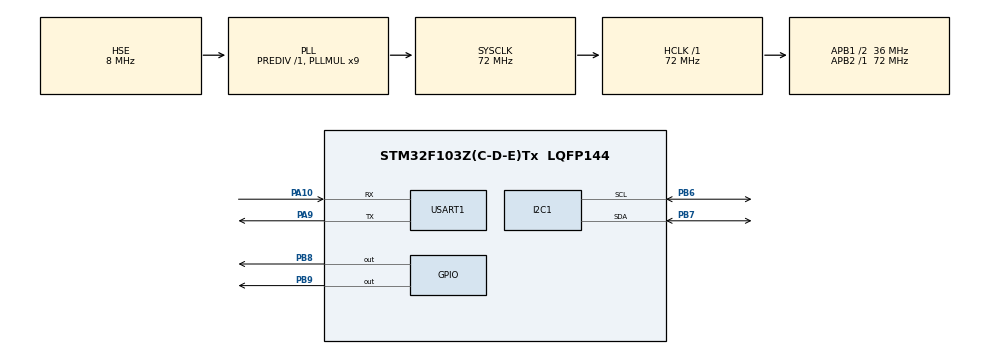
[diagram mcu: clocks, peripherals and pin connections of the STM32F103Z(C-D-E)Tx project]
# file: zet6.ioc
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I2C1.I2C_Mode=I2C_Fast
Mcu.Family=STM32F1
Mcu.Name=STM32F103Z(C-D-E)Tx
Mcu.Package=LQFP144
NVIC.PriorityGroup=NVIC_PRIORITYGROUP_4
NVIC.TIM8_UP_IRQn=true\:0\:0\:false\:false\:true\:true\:true\:true
OSC_IN.Mode=HSE-External-Oscillator
OSC_IN.Signal=RCC_OSC_IN
OSC_OUT.Mode=HSE-External-Oscillator
OSC_OUT.Signal=RCC_OSC_OUT
PA10.Mode=Asynchronous
PA10.Signal=USART1_RX
PA13.Mode=Serial_Wire
PA13.Signal=SYS_JTMS-SWDIO
PA14.Mode=Serial_Wire
PA14.Signal=SYS_JTCK-SWCLK
PA9.Mode=Asynchronous
PA9.Signal=USART1_TX
PB6.Mode=I2C
PB6.Signal=I2C1_SCL
PB7.Mode=I2C
PB7.Signal=I2C1_SDA
PB8.Signal=GPIO_Output
PB9.Signal=GPIO_Output
ProjectManager.HeapSize=0x200
ProjectManager.StackSize=0x400
ProjectManager.TargetToolchain=MDK-ARM V5
RCC.AHBFreq_Value=72000000
RCC.APB1CLKDivider=RCC_HCLK_DIV2
RCC.APB1Freq_Value=36000000
RCC.APB1TimFreq_Value=72000000
RCC.APB2Freq_Value=72000000
RCC.APB2TimFreq_Value=72000000
RCC.HCLKFreq_Value=72000000
RCC.PLLMUL=RCC_PLL_MUL9
RCC.PLLSourceVirtual=RCC_PLLSOURCE_HSE
RCC.SYSCLKFreq_VALUE=72000000
RCC.SYSCLKSource=RCC_SYSCLKSOURCE_PLLCLK
RCC.USBFreq_Value=72000000
TIM8.Channel-Output\ Compare1\ No\ Output=TIM_CHANNEL_1
TIM8.Period=7199
TIM8.Prescaler=9
USART1.VirtualMode=VM_ASYNC
VP_TIM8_VS_no_output1.Mode=Output Compare1 No Output
board=custom

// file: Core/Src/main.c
/* USER CODE BEGIN Header */
/**
  ******************************************************************************
  * @file           : main.c
  * @brief          : Main program body
  ******************************************************************************
  * @attention
  *
  * Copyright (c) 2023 STMicroelectronics.
  * All rights reserved.
  *
  * This software is licensed under terms that can be found in the LICENSE file
  * in the root directory of this software component.
  * If no LICENSE file comes with this software, it is provided AS-IS.
  *
  ******************************************************************************
  */
/* USER CODE END Header */
#include "main.h"
#include "i2c.h"
#include "tim.h"
#include "usart.h"
#include "gpio.h"

/* USER CODE BEGIN Includes */
#include "mpu9250.h"
#include "inv_mpu.h"
/* USER CODE END Includes */

/* USER CODE BEGIN PTD */
uint8_t init_flag=0,rec_count=0;
/* USER CODE END PTD */

void SystemClock_Config(void);
/* USER CODE BEGIN PFP */
void mpu9250_Start(void);
/* USER CODE END PFP */

int main(void)
{

  /* MCU Configuration--------------------------------------------------------*/

  /* Reset of all peripherals, Initializes the Flash interface and the Systick. */
  HAL_Init();

  /* Configure the system clock */
  SystemClock_Config();

  /* Initialize all configured peripherals */
  MX_GPIO_Init();
  MX_I2C1_Init();
  MX_USART1_UART_Init();
  MX_TIM8_Init();
  /* USER CODE BEGIN 2 */
		mpu9250_Start();
		HAL_TIM_Base_Start_IT(&htim8);
//	  printf("-- Mpu9250 Project Start -- \r\n");
//      uint8_t recv = 0x00;
//      uint8_t i2c_err;
//      i2c_err = HAL_I2C_Mem_Read(&hi2c1, (0x68<<1), 0x75, I2C_MEMADD_SIZE_8BIT, &recv, 1, 0xfff);
//      if(recv == 0x71)
//      {
//          printf("mpu9250 ID Read: OK（0x71 at 0x75)\r\n");
//      }
//      else
//      {
//          printf("Err:%d\r\n",i2c_err);
//      }
  /* USER CODE END 2 */

  /* Infinite loop */
  /* USER CODE BEGIN WHILE */
  while (1)
  {
//		printf("-- Mpu9250 Project Start -- \r\n");
//		HAL_UART_Transmit(&huart1,(uint8_t *)"hello",5,100);
//		HAL_Delay(500);
    /* USER CODE END WHILE */

  }
}

void SystemClock_Config(void)
{
  RCC_OscInitTypeDef RCC_OscInitStruct = {0};
  RCC_ClkInitTypeDef RCC_ClkInitStruct = {0};

  /** Initializes the RCC Oscillators according to the specified parameters
  * in the RCC_OscInitTypeDef structure.
  */
  RCC_OscInitStruct.OscillatorType = RCC_OSCILLATORTYPE_HSE;
  RCC_OscInitStruct.HSEState = RCC_HSE_ON;
  RCC_OscInitStruct.HSEPredivValue = RCC_HSE_PREDIV_DIV1;
  RCC_OscInitStruct.HSIState = RCC_HSI_ON;
  RCC_OscInitStruct.PLL.PLLState = RCC_PLL_ON;
  RCC_OscInitStruct.PLL.PLLSource = RCC_PLLSOURCE_HSE;
  RCC_OscInitStruct.PLL.PLLMUL = RCC_PLL_MUL9;
  if (HAL_RCC_OscConfig(&RCC_OscInitStruct) != HAL_OK)
  {
    Error_Handler();
  }

  /** Initializes the CPU, AHB and APB buses clocks
  */
  RCC_ClkInitStruct.ClockType = RCC_CLOCKTYPE_HCLK|RCC_CLOCKTYPE_SYSCLK
                              |RCC_CLOCKTYPE_PCLK1|RCC_CLOCKTYPE_PCLK2;
  RCC_ClkInitStruct.SYSCLKSource = RCC_SYSCLKSOURCE_PLLCLK;
  RCC_ClkInitStruct.AHBCLKDivider = RCC_SYSCLK_DIV1;
  RCC_ClkInitStruct.APB1CLKDivider = RCC_HCLK_DIV2;
  RCC_ClkInitStruct.APB2CLKDivider = RCC_HCLK_DIV1;

  if (HAL_RCC_ClockConfig(&RCC_ClkInitStruct, FLASH_LATENCY_2) != HAL_OK)
  {
    Error_Handler();
  }
}

/* USER CODE BEGIN 4 */
void HAL_TIM_PeriodElapsedCallback(TIM_HandleTypeDef *htim)
{

	float pitch,roll,yaw; 	        //欧拉角
	short aacx,aacy,aacz;	        //加速度传感器原始数据
	short gyrox,gyroy,gyroz;        //陀螺仪原始数据
    short temp;                     //温度
				 uint8_t err=0;
	if(init_flag){
		err = mpu_mpl_get_data(&pitch,&roll,&yaw);
        if(err == 0)
        {
                temp = MPU_Get_Temperature();	                                     //得到温度值（扩大了100倍）
                MPU_Get_Accelerometer(&aacx,&aacy,&aacz);	                         //得到加速度传感器数据
                MPU_Get_Gyroscope(&gyrox,&gyroy,&gyroz);	                         //得到陀螺仪数据
                //mpu6050_send_data(aacx,aacy,aacz,gyrox,gyroy,gyroz);               //发送加速度+陀螺仪原始数据
                printf(/*"roll = %f   pitch = %f */  "yaw = %f (T = %d)\r\n",/*roll,pitch,*/yaw,temp);

        }
			}
}

void mpu9250_Start(void)
{

	float pitch,roll,yaw; 	        //欧拉角
	short aacx,aacy,aacz;	        //加速度传感器原始数据
	short gyrox,gyroy,gyroz;        //陀螺仪原始数据
    short temp;                     //温度

    uint8_t err = mpu_dmp_init();
    while(err)
	{
        printf("mpu_init_err:%d\r\n",err);
		HAL_Delay(200);
        err = mpu_dmp_init();
	}
	init_flag=1;
    printf("mpu9250 Ok\r\n");
//    while(1)
//    {
//        err = mpu_mpl_get_data(&pitch,&roll,&yaw);
//        if(err == 0)
//        {
//                temp = MPU_Get_Temperature();	                                     //得到温度值（扩大了100倍）
//                MPU_Get_Accelerometer(&aacx,&aacy,&aacz);	                         //得到加速度传感器数据
//                MPU_Get_Gyroscope(&gyrox,&gyroy,&gyroz);	                         //得到陀螺仪数据
//                //mpu6050_send_data(aacx,aacy,aacz,gyrox,gyroy,gyroz);               //发送加速度+陀螺仪原始数据
//                printf(/*"roll = %f   pitch = %f */  "yaw = %f (T = %d)\r\n",/*roll,pitch,*/yaw,temp);
//
//
//        }
//		HAL_Delay(50);
//    }
 }
/* USER CODE END 4 */

void Error_Handler(void)
{
  __disable_irq();
  while (1)
  {
  }
}
